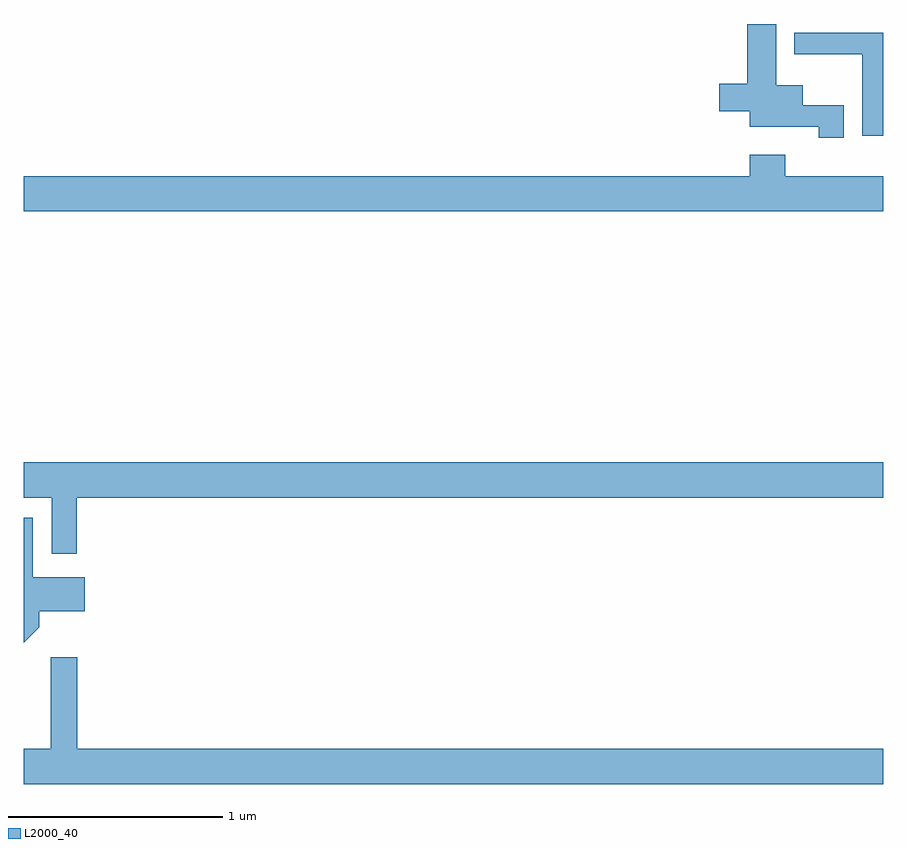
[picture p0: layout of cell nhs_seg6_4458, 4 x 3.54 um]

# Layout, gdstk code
import gdstk
lib = gdstk.Library(unit=1e-6, precision=1e-09)
def P(c, l, *ps):  # polygons
    for p in ps: c.add(gdstk.Polygon(p, *l))
L2000_40 = (2000, 40)

nhs_seg6_4458 = lib.new_cell('nhs_seg6_4458')
P(nhs_seg6_4458, L2000_40, [(376.816,989.121),(376.624,989.121),(376.624,989.215),(376.501,989.215),(376.501,989.5),(376.367,989.5),(376.367,989.223),(376.236,989.223),(376.236,989.093),(376.379,989.093),(376.379,989.021),(376.699,989.021),(376.699,988.971),(376.816,988.971)],
  [(377,989.459),(376.586,989.459),(376.586,989.36),(376.693,989.36),(376.693,989.359),(376.901,989.359),(376.901,988.979),(377,988.979)],
  [(377,988.792),(376.544,988.792),(376.544,988.891),(376.379,988.891),(376.379,988.792),(373,988.792),(373,988.628),(377,988.628)],
  [(373.247,987.296),(377,987.296),(377,987.46),(373,987.46),(373,987.296),(373.131,987.296),(373.131,987.036),(373.247,987.036)],
  [(373.073,986.694),(373.073,986.768),(373.285,986.768),(373.285,986.926),(373.042,986.926),(373.042,987.202),(373,987.202),(373,986.621)],
  [(377,986.128),(373.25,986.128),(373.25,986.554),(373.127,986.554),(373.127,986.128),(373,986.128),(373,985.964),(377,985.964)])

lib.write_gds('nhs_seg6_4458.gds')
